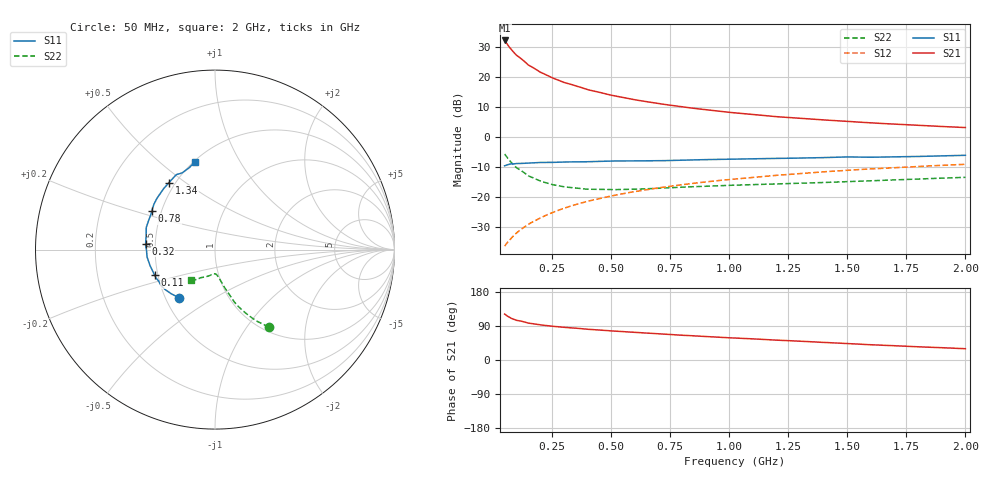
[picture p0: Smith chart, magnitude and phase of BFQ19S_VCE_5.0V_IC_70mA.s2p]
! Infineon Technologies  Discrete & RF Semiconductors
! BFQ19S
! VCE =  5.0 V,  IC =  70 mA
! Common Emitter S-Parameters:  Jan 2016
# GHz  S  MA  R  50
!  f  S11  S21  S12  S22
! GHz  MAG  ANG  MAG  ANG  MAG  ANG  MAG  ANG
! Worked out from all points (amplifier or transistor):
!   391 points, 50 MHz to 2 GHz, reference 50 ohm
!   highest |S21| = 32.3 dB at 50 MHz (marker M1)
!   |S21| within 3 dB of that: start of sweep to 78.12 MHz
!   unconditionally stable (mu >= 1): 230.6 MHz to 1.708 GHz
!   at 375 MHz: K = 1.02, MAG = 18.3 dB, |S12| = -21.9 dB
!   at 1.025 GHz: K = 1.03, MAG = 10.0 dB, |S12| = -13.9 dB
!   at 2 GHz: K = 0.97, MSG = 6.1 dB, |S12| = -9.0 dB
!   S11 on the Smith chart (normalised r, x): 50 MHz: 0.59, -0.35; 110 MHz: 0.48, -0.16; 320 MHz: 0.44, +0.03; 780 MHz: 0.44, +0.23; 1.34 GHz: 0.46, +0.44; 2 GHz: 0.51, +0.66
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0.05  0.3347 -126.7  41.07 121.3  0.0153 67.7  0.5251 -55.2
0.06  0.3465 -134.8  35.97 116.5  0.0173 68.9  0.463 -59.6
0.07  0.3565 -141.6  31.82 112.6  0.0192 68.7  0.4131 -62.9
0.075  0.3583 -144.1  30.13 111.1  0.0202 69.1  0.3929 -64.2
0.08  0.3608 -146.6  28.46 109.5  0.0212 69.4  0.373 -65.6
0.09  0.36 -151.1  25.68 106.9  0.0232 70.4  0.3398 -67.9
0.1  0.3648 -154.5  23.34 104.8  0.0253 70.9  0.3118 -69.7
0.11  0.3651 -156.9  21.86 103.7  0.0273 71.5  0.2948 -70.5
0.15  0.3728 -166.3  16.05 97.4  0.0352 73.4  0.2279 -75.1
0.2  0.3805 -173.7  12.21 92.6  0.045 74.4  0.1861 -78.5
0.25  0.381 -178.9  9.822 89.1  0.055 74.9  0.163 -81.5
0.3  0.3877 176.6  8.235 86.2  0.0653 74.7  0.1493 -83.7
0.32  0.3878 175.1  7.83 85.4  0.0693 74.5  0.1466 -84.5
0.375  0.3894 170.9  6.726 82.7  0.0804 74.1  0.1394 -86.7
0.5  0.4022 162.2  5.032 76.8  0.1047 72.7  0.1339 -91.3
0.7  0.4057 152.3  3.647 69.1  0.1432 69.4  0.1411 -98.0
0.78  0.4128 148.4  3.295 66.2  0.1581 68.0  0.1463 -100.8
1.03  0.4328 137.3  2.541 57.8  0.2026 63.6  0.1592 -108.1
1.34  0.4529 124.4  2.02 48.4  0.2553 58.1  0.1732 -115.9
1.35  0.4537 124.0  2.008 48.0  0.257 58.0  0.1737 -116.1
1.675  0.4692 111.1  1.675 38.3  0.308 52.0  0.1941 -121.4
2  0.5003 103.0  1.451 29.8  0.3541 46.6  0.2149 -128.3
